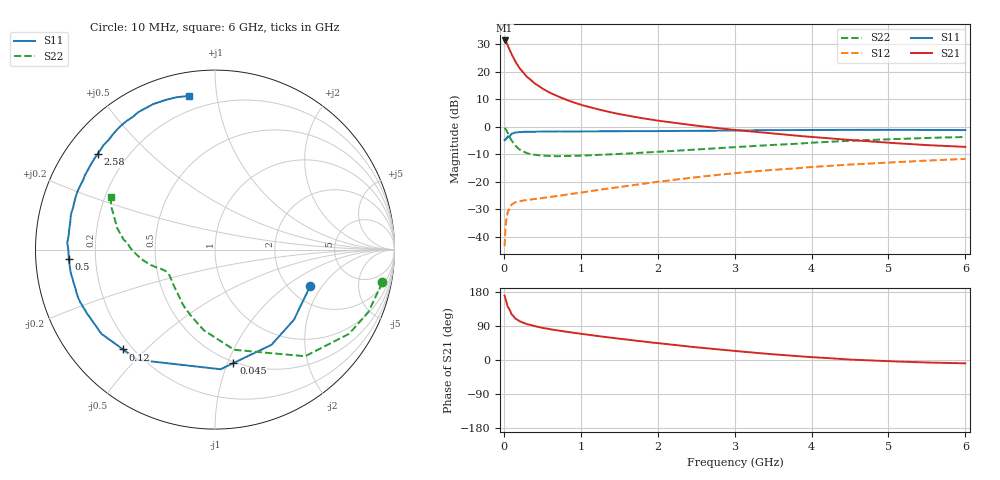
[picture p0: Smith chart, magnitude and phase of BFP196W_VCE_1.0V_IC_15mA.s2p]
! Infineon Technologies  Discrete & RF Semiconductors
! BFP196W
! VCE = 1.0 V,  IC =  15mA
! Common Emitter S-Parameters:  Jan 2016
# GHz  S  MA  R  50
!  f  S11  S21  S12  S22
! GHz  MAG  ANG  MAG  ANG  MAG  ANG  MAG  ANG
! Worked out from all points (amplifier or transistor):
!   210 points, 10 MHz to 6 GHz, reference 50 ohm
!   highest |S21| = 31.4 dB at 10 MHz (marker M1)
!   |S21| within 3 dB of that: start of sweep to 70.22 MHz
!   unconditionally stable (mu >= 1): 939.2 MHz to 3.497 GHz; 3.684 GHz to 3.82 GHz
!   at 185 MHz: K = 0.28, MSG = 24.7 dB, |S12| = -27.3 dB
!   at 1.52 GHz: K = 1.15, MAG = 10.8 dB, |S12| = -21.9 dB
!   at 6 GHz: K = 1.00, MSG = 2.2 dB, |S12| = -11.7 dB
!   S11 on the Smith chart (normalised r, x): 10 MHz: 2.58, -1.55; 45 MHz: 0.49, -1.05; 120 MHz: 0.17, -0.43; 500 MHz: 0.10, -0.03; 2.58 GHz: 0.10, +0.35; 6 GHz: 0.12, +0.84
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0.01  0.5676 -21.1  37.18 169.7  0.0067 79.9  0.9502 -11.1
0.02  0.5885 -41.6  36.71 162.4  0.0136 73.2  0.9228 -22.1
0.03  0.6167 -59.3  35.01 154.6  0.0193 67.1  0.8825 -32.1
0.045  0.6408 -80.8  31.49 144.7  0.0257 56.5  0.7964 -45.0
0.05  0.6674 -87.3  30.56 140.9  0.028 54.1  0.7779 -49.8
0.1  0.7507 -125.1  20.98 120.6  0.0381 37.5  0.5683 -79.2
0.12  0.7561 -132.6  18.65 116.9  0.0397 34.4  0.5159 -85.7
0.15  0.7877 -143.4  15.35 109.2  0.0423 30.3  0.4532 -98.0
0.2  0.7966 -153.4  11.86 102.8  0.0439 27.4  0.3894 -110.7
0.24  0.8059 -158.6  10.12 99.2  0.0451 26.4  0.3627 -117.9
0.3  0.8077 -164.7  8.104 94.7  0.0464 26.0  0.33 -127.0
0.4  0.8142 -171.2  6.159 89.2  0.0485 27.0  0.3087 -136.6
0.5  0.8167 -176.2  4.966 84.8  0.0504 28.7  0.2986 -143.1
0.7  0.8242 177.3  3.59 78.0  0.0549 33.0  0.291 -150.3
1.02  0.8208 169.4  2.468 68.8  0.0638 39.1  0.2984 -156.1
1.4  0.8273 161.6  1.819 58.7  0.0763 43.8  0.3149 -159.5
2.02  0.8344 150.3  1.281 44.1  0.1002 47.5  0.3503 -164.3
2.58  0.843 140.8  1.016 31.9  0.124 47.3  0.3912 -169.8
3.1  0.8553 132.4  0.85 22.1  0.147 45.0  0.4331 -175.7
4.1  0.8768 118.0  0.637 6.4  0.1887 38.9  0.5205 172.5
5.1  0.8769 107.1  0.501 -3.9  0.2264 31.6  0.5979 161.0
6  0.869 99.7  0.43 -8.8  0.26 25.3  0.6505 153.4
